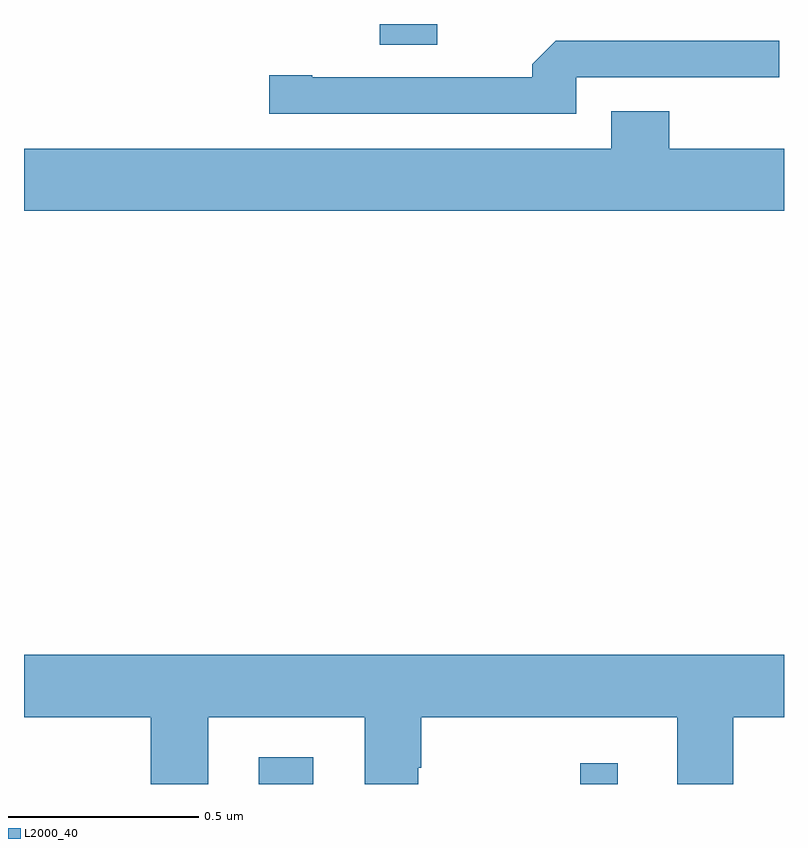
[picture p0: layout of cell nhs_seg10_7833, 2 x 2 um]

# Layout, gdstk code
import gdstk
lib = gdstk.Library(unit=1e-6, precision=1e-09)
def R(c, l, rs):  # rectangles x0, y0, x1, y1
    for r in rs: c.add(gdstk.rectangle(r[:2], r[2:], *l))
def P(c, l, *ps):  # polygons
    for p in ps: c.add(gdstk.Polygon(p, *l))
L2000_40 = (2000, 40)

nhs_seg10_7833 = lib.new_cell('nhs_seg10_7833')
R(nhs_seg10_7833, L2000_40, [(209.618,1273.5,209.761,1273.57), (210.464,1273.5,210.562,1273.555), (209.936,1275.445,210.088,1275.5)])
P(nhs_seg10_7833, L2000_40, [(210.453,1275.36),(210.988,1275.36),(210.988,1275.456),(210.399,1275.456),(210.338,1275.394),(210.338,1275.36),(209.758,1275.36),(209.758,1275.365),(209.646,1275.365),(209.646,1275.264),(210.453,1275.264)],
  [(211,1275.172),(210.698,1275.172),(210.698,1275.271),(210.545,1275.271),(210.545,1275.172),(209,1275.172),(209,1275.008),(211,1275.008)],
  [(209.485,1273.676),(209.897,1273.676),(209.897,1273.5),(210.037,1273.5),(210.037,1273.543),(210.045,1273.543),(210.045,1273.676),(210.719,1273.676),(210.719,1273.5),(210.867,1273.5),(210.867,1273.676),(211,1273.676),(211,1273.84),(209,1273.84),(209,1273.676),(209.333,1273.676),(209.333,1273.5),(209.485,1273.5)])

lib.write_gds('nhs_seg10_7833.gds')
